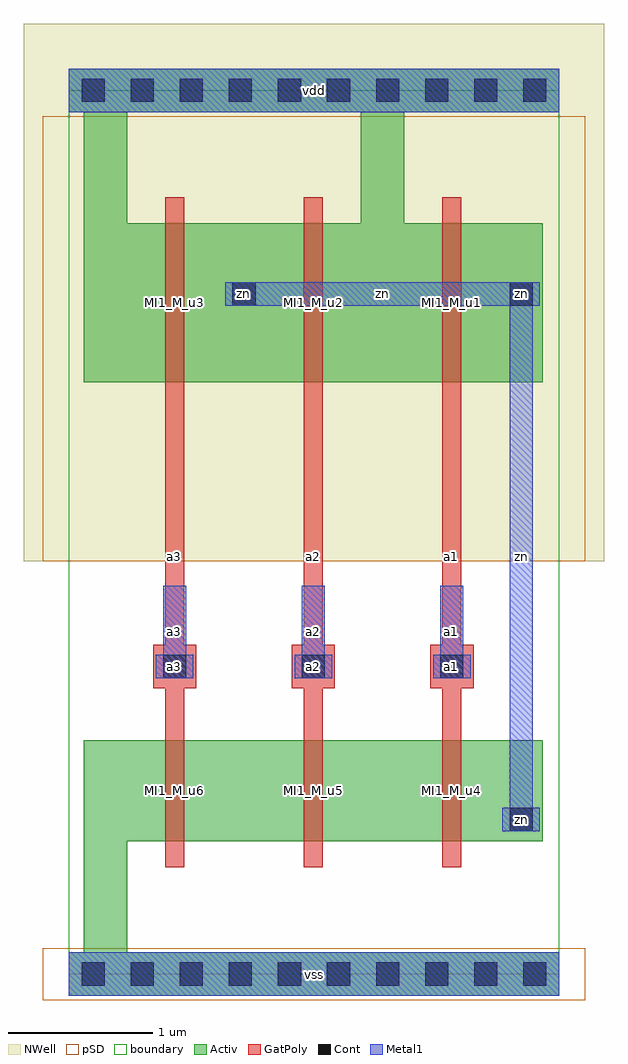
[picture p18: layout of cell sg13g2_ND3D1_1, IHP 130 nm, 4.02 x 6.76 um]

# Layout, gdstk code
import gdstk
lib = gdstk.Library(unit=1e-6, precision=1e-09)
def R(c, l, rs):  # rectangles x0, y0, x1, y1
    for r in rs: c.add(gdstk.rectangle(r[:2], r[2:], *l))
def A(c, l, x, y, w, h, nx, ny, dx, dy):  # array of equal rectangles
    R(c, l, [(x+i*dx, y+j*dy, x+i*dx+w, y+j*dy+h) for i in range(nx) for j in range(ny)])
Activ = (1, 0)
GatPoly = (5, 0)
Cont = (6, 0)
Metal1 = (8, 0)
pSD = (14, 0)
NWell = (31, 0)
TEXT = (63, 0)
boundary = (189, 4)

sg13g2_nd3d1_1 = lib.new_cell('sg13g2_ND3D1_1')
A(sg13g2_nd3d1_1, Activ, 0.105, 0.92, 1.26, 0.7, 3, 1, 0.96, 0)
A(sg13g2_nd3d1_1, Activ, 0.105, 4.1, 1.26, 1.1, 3, 1, 0.96, 0)
R(sg13g2_nd3d1_1, Activ, [(0,-0.15,3.4,0.15), (0.105,0.15,0.405,1.07), (2.985,0.92,3.285,1.22), (1.065,4.56,1.365,4.86), (2.985,4.56,3.285,4.86), (0.105,4.71,0.405,5.97), (2.025,4.71,2.325,5.97), (0,5.97,3.4,6.27)])
A(sg13g2_nd3d1_1, GatPoly, 0.67, 0.74, 0.13, 1.06, 3, 1, 0.96, 0)
A(sg13g2_nd3d1_1, GatPoly, 0.67, 1.005, 0.13, 3.77, 3, 1, 0.96, 0)
A(sg13g2_nd3d1_1, GatPoly, 0.585, 1.98, 0.3, 0.3, 3, 1, 0.96, 0)
A(sg13g2_nd3d1_1, GatPoly, 0.67, 3.92, 0.13, 1.46, 3, 1, 0.96, 0)
A(sg13g2_nd3d1_1, Cont, 0.09, -0.08, 0.16, 0.16, 10, 2, 0.34, 6.12)
A(sg13g2_nd3d1_1, Cont, 0.655, 2.05, 0.16, 0.16, 3, 1, 0.96, 0)
R(sg13g2_nd3d1_1, Cont, [(3.055,0.99,3.215,1.15), (1.135,4.63,1.295,4.79), (3.055,4.63,3.215,4.79)])
A(sg13g2_nd3d1_1, Metal1, 0.605, 2.05, 0.26, 0.16, 3, 1, 0.96, 0)
A(sg13g2_nd3d1_1, Metal1, 0.655, 2.05, 0.16, 0.64, 3, 1, 0.96, 0)
R(sg13g2_nd3d1_1, Metal1, [(0,-0.15,3.4,0.15), (3.005,0.99,3.265,1.15), (3.055,0.99,3.215,4.79), (1.085,4.63,1.345,4.79), (1.135,4.63,3.215,4.79), (3.005,4.63,3.265,4.79), (0,5.97,3.4,6.27)])
R(sg13g2_nd3d1_1, pSD, [(-0.18,-0.18,3.58,0.18), (-0.18,2.86,3.58,5.94)])
R(sg13g2_nd3d1_1, NWell, [(-0.31,2.86,3.71,6.58)])
R(sg13g2_nd3d1_1, boundary, [(0,0,3.4,6.12)])
sg13g2_nd3d1_1.add(gdstk.FlexPath([(0.105,0.41),(3.285,0.41)], 0, ends="flush", simple_path=True, layer=63, datatype=0))  # TEXT
sg13g2_nd3d1_1.add(gdstk.FlexPath([(0.105,1.07),(3.285,1.07)], 0, ends="flush", simple_path=True, layer=63, datatype=0))  # TEXT
sg13g2_nd3d1_1.add(gdstk.FlexPath([(0.105,1.47),(3.285,1.47)], 0, ends="flush", simple_path=True, layer=63, datatype=0))  # TEXT
sg13g2_nd3d1_1.add(gdstk.FlexPath([(0.105,2.13),(3.285,2.13)], 0, ends="flush", simple_path=True, layer=63, datatype=0))  # TEXT
sg13g2_nd3d1_1.add(gdstk.FlexPath([(0.105,2.61),(3.285,2.61)], 0, ends="flush", simple_path=True, layer=63, datatype=0))  # TEXT
sg13g2_nd3d1_1.add(gdstk.FlexPath([(0.105,3.09),(3.285,3.09)], 0, ends="flush", simple_path=True, layer=63, datatype=0))  # TEXT
sg13g2_nd3d1_1.add(gdstk.FlexPath([(0.105,3.57),(3.285,3.57)], 0, ends="flush", simple_path=True, layer=63, datatype=0))  # TEXT
sg13g2_nd3d1_1.add(gdstk.FlexPath([(0.105,4.25),(3.285,4.25)], 0, ends="flush", simple_path=True, layer=63, datatype=0))  # TEXT
sg13g2_nd3d1_1.add(gdstk.FlexPath([(0.105,4.71),(3.285,4.71)], 0, ends="flush", simple_path=True, layer=63, datatype=0))  # TEXT
sg13g2_nd3d1_1.add(gdstk.FlexPath([(0.105,5.05),(3.285,5.05)], 0, ends="flush", simple_path=True, layer=63, datatype=0))  # TEXT
sg13g2_nd3d1_1.add(gdstk.FlexPath([(0.105,5.71),(3.285,5.71)], 0, ends="flush", simple_path=True, layer=63, datatype=0))  # TEXT
sg13g2_nd3d1_1.add(gdstk.FlexPath([(0.255,0.15),(0.255,5.97)], 0, ends="flush", simple_path=True, layer=63, datatype=0))  # TEXT
sg13g2_nd3d1_1.add(gdstk.FlexPath([(0.735,0.15),(0.735,5.97)], 0, ends="flush", simple_path=True, layer=63, datatype=0))  # TEXT
sg13g2_nd3d1_1.add(gdstk.FlexPath([(1.215,0.15),(1.215,5.97)], 0, ends="flush", simple_path=True, layer=63, datatype=0))  # TEXT
sg13g2_nd3d1_1.add(gdstk.FlexPath([(1.695,0.15),(1.695,5.97)], 0, ends="flush", simple_path=True, layer=63, datatype=0))  # TEXT
sg13g2_nd3d1_1.add(gdstk.FlexPath([(2.175,0.15),(2.175,5.97)], 0, ends="flush", simple_path=True, layer=63, datatype=0))  # TEXT
sg13g2_nd3d1_1.add(gdstk.FlexPath([(2.655,0.15),(2.655,5.97)], 0, ends="flush", simple_path=True, layer=63, datatype=0))  # TEXT
sg13g2_nd3d1_1.add(gdstk.FlexPath([(3.135,0.15),(3.135,5.97)], 0, ends="flush", simple_path=True, layer=63, datatype=0))  # TEXT
sg13g2_nd3d1_1.add(gdstk.Label('zn', (3.135,1.07), layer=6, texttype=0))
sg13g2_nd3d1_1.add(gdstk.Label('zn', (1.215,4.71), layer=6, texttype=0))
sg13g2_nd3d1_1.add(gdstk.Label('zn', (3.135,4.71), layer=6, texttype=0))
sg13g2_nd3d1_1.add(gdstk.Label('a1', (2.655,2.13), layer=6, texttype=0))
sg13g2_nd3d1_1.add(gdstk.Label('a2', (1.695,2.13), layer=6, texttype=0))
sg13g2_nd3d1_1.add(gdstk.Label('a3', (0.735,2.13), layer=6, texttype=0))
sg13g2_nd3d1_1.add(gdstk.Label('zn', (3.135,1.07), layer=8, texttype=25))
sg13g2_nd3d1_1.add(gdstk.Label('zn', (1.215,4.71), layer=8, texttype=25))
sg13g2_nd3d1_1.add(gdstk.Label('zn', (3.135,4.71), layer=8, texttype=25))
sg13g2_nd3d1_1.add(gdstk.Label('zn', (3.135,2.89), layer=8, texttype=25))
sg13g2_nd3d1_1.add(gdstk.Label('zn', (2.175,4.71), layer=8, texttype=25))
sg13g2_nd3d1_1.add(gdstk.Label('a1', (2.655,2.13), layer=8, texttype=25))
sg13g2_nd3d1_1.add(gdstk.Label('a1', (2.655,2.37), layer=8, texttype=25))
sg13g2_nd3d1_1.add(gdstk.Label('a2', (1.695,2.13), layer=8, texttype=25))
sg13g2_nd3d1_1.add(gdstk.Label('a2', (1.695,2.37), layer=8, texttype=25))
sg13g2_nd3d1_1.add(gdstk.Label('a3', (0.735,2.13), layer=8, texttype=25))
sg13g2_nd3d1_1.add(gdstk.Label('a3', (0.735,2.37), layer=8, texttype=25))
sg13g2_nd3d1_1.add(gdstk.Label('vss', (1.7,0), layer=8, texttype=25))
sg13g2_nd3d1_1.add(gdstk.Label('vdd', (1.7,6.12), layer=8, texttype=25))
sg13g2_nd3d1_1.add(gdstk.Label('MI1_M_u4', (2.655,1.27), layer=1, texttype=0))
sg13g2_nd3d1_1.add(gdstk.Label('MI1_M_u5', (1.695,1.27), layer=1, texttype=0))
sg13g2_nd3d1_1.add(gdstk.Label('MI1_M_u6', (0.735,1.27), layer=1, texttype=0))
sg13g2_nd3d1_1.add(gdstk.Label('MI1_M_u3', (0.735,4.65), layer=1, texttype=0))
sg13g2_nd3d1_1.add(gdstk.Label('MI1_M_u1', (2.655,4.65), layer=1, texttype=0))
sg13g2_nd3d1_1.add(gdstk.Label('MI1_M_u2', (1.695,4.65), layer=1, texttype=0))
sg13g2_nd3d1_1.add(gdstk.Label('zn', (3.135,1.07), layer=1, texttype=0))
sg13g2_nd3d1_1.add(gdstk.Label('zn', (1.215,4.71), layer=1, texttype=0))
sg13g2_nd3d1_1.add(gdstk.Label('zn', (3.135,4.71), layer=1, texttype=0))
sg13g2_nd3d1_1.add(gdstk.Label('a1', (2.655,2.89), layer=5, texttype=0))
sg13g2_nd3d1_1.add(gdstk.Label('a1', (2.655,2.13), layer=5, texttype=0))
sg13g2_nd3d1_1.add(gdstk.Label('a2', (1.695,2.89), layer=5, texttype=0))
sg13g2_nd3d1_1.add(gdstk.Label('a2', (1.695,2.13), layer=5, texttype=0))
sg13g2_nd3d1_1.add(gdstk.Label('a3', (0.735,2.89), layer=5, texttype=0))
sg13g2_nd3d1_1.add(gdstk.Label('a3', (0.735,2.13), layer=5, texttype=0))

lib.write_gds('sg13g2_ND3D1_1.gds')
